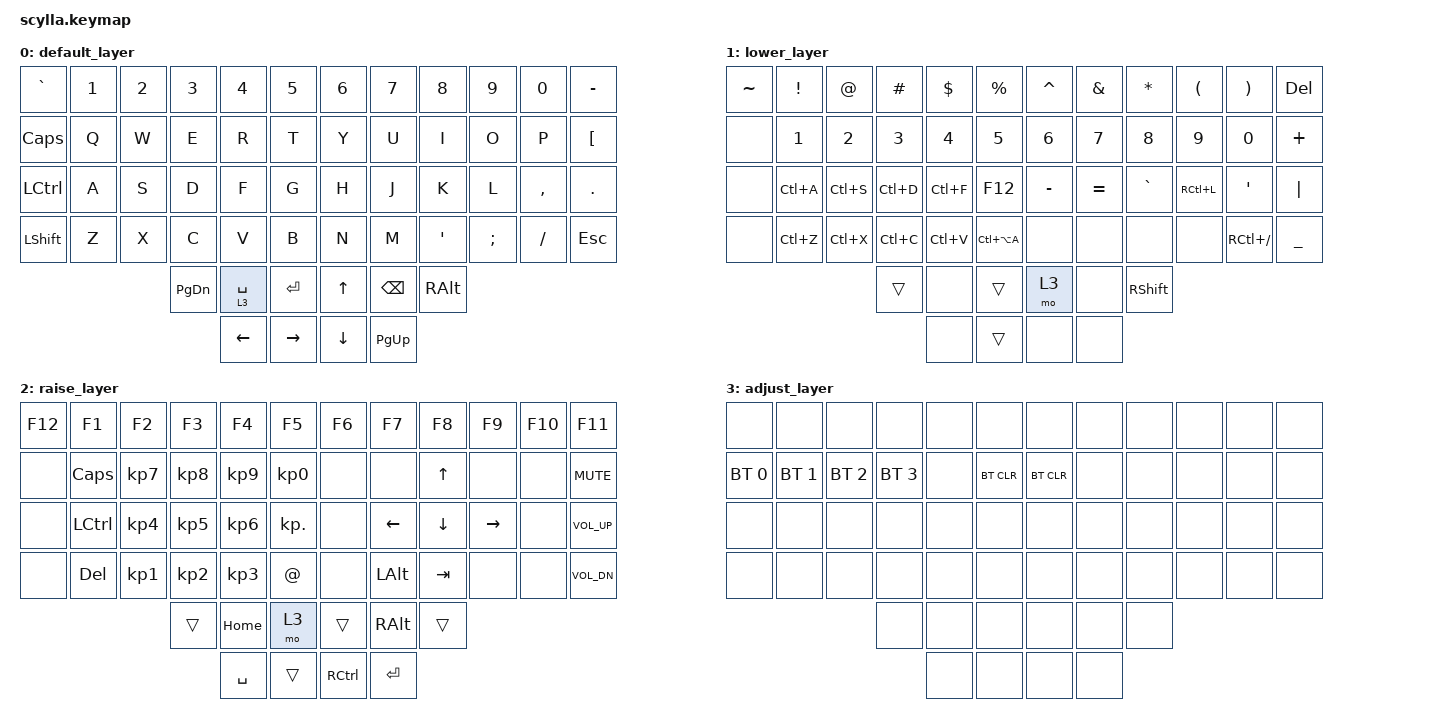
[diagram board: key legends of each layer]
#include <behaviors.dtsi>
#include <dt-bindings/zmk/bt.h>
#include <dt-bindings/zmk/keys.h>

#define DEFAULT 0
#define LWR 1
#define RSE 2
#define ADJ 3

/ {
    combos {
        compatible = "zmk,combos";

        combo1 {
            bindings = <&kp LBKT>;
            key-positions = <15 16>;
        };

        combo2 {
            bindings = <&kp RBKT>;
            key-positions = <19 20>;
        };

        combo3 {
            bindings = <&kp LEFT_PARENTHESIS>;
            key-positions = <27 28>;
        };

        combo4 {
            bindings = <&kp RIGHT_PARENTHESIS>;
            key-positions = <31 32>;
        };

        combo5 {
            bindings = <&kp LEFT_BRACE>;
            key-positions = <39 40>;
        };

        combo6 {
            bindings = <&kp RIGHT_BRACE>;
            key-positions = <43 44>;
        };

        combo7 {
            bindings = <&kp BACKSLASH>;
            key-positions = <17 18>;
        };

        combo8 {
            bindings = <&kp PIPE>;
            key-positions = <29 30>;
        };

        combo9 {
            bindings = <&kp ESC>;
            key-positions = <13 14>;
        };

        combo10 {
            bindings = <&kp TAB>;
            key-positions = <25 26>;
        };
    };

    behaviors {
        ltq: ltq {
            compatible = "zmk,behavior-hold-tap";
            label = "LTQ";
            bindings = <&mo>, <&kp>;

            #binding-cells = <2>;
            tapping-term-ms = <200>;
            quick-tap-ms = <180>;
            global-quick-tap;
        };
    };

    keymap {
        compatible = "zmk,keymap";

        default_layer {
            bindings = <
&kp GRAVE       &kp N1  &kp N2  &kp N3     &kp N4       &kp N5       &kp N6        &kp N7         &kp N8         &kp N9         &kp N0     &kp MINUS
&kp CAPS        &kp Q   &kp W   &kp E      &kp R        &kp T        &kp Y         &kp U          &kp I          &kp O          &kp P      &kp LEFT_BRACKET
&kp LCTRL       &kp A   &kp S   &kp D      &kp F        &kp G        &kp H         &kp J          &kp K          &kp L          &kp COMMA  &kp PERIOD
&kp LEFT_SHIFT  &kp Z   &kp X   &kp C      &kp V        &kp B        &kp N         &kp M          &kp SQT        &kp SEMICOLON  &kp SLASH  &kp ESCAPE
                                &kp PG_DN  &lt 3 SPACE  &kp ENTER    &kp UP_ARROW  &kp BACKSPACE  &kp RIGHT_ALT
                                           &kp LEFT     &kp RIGHT    &kp DOWN      &kp PG_UP
            >;
        };

        lower_layer {
            bindings = <
&kp TILDE  &kp EXCL      &kp AT        &kp HASH      &kp DLLR      &kp PRCNT        &kp CARET     &kp AMPS      &kp ASTRK        &kp LPAR      &kp RPAR       &kp DEL
&none      &kp NUMBER_1  &kp NUMBER_2  &kp NUMBER_3  &kp NUMBER_4  &kp NUMBER_5     &kp NUMBER_6  &kp NUMBER_7  &kp NUMBER_8     &kp NUMBER_9  &kp NUMBER_0   &kp PLUS
&none      &kp LC(A)     &kp LC(S)     &kp LC(D)     &kp LC(F)     &kp F12          &kp MINUS     &kp EQUAL     &kp GRAVE        &kp RC(L)     &kp SQT        &kp PIPE
&none      &kp LC(Z)     &kp LC(X)     &kp LC(C)     &kp LC(V)     &kp LC(LA(A))    &none         &none         &none            &none         &kp RC(SLASH)  &kp UNDER
                                       &trans        &none         &trans           &mo 3         &none         &kp RIGHT_SHIFT
                                                     &none         &trans           &none         &none
            >;
        };

        raise_layer {
            bindings = <
&kp F12  &kp F1     &kp F2           &kp F3           &kp F4           &kp F5             &kp F6     &kp F7        &kp F8    &kp F9     &kp F10  &kp F11
&none    &kp CAPS   &kp KP_NUMBER_7  &kp KP_NUMBER_8  &kp KP_NUMBER_9  &kp KP_NUMBER_0    &none      &none         &kp UP    &none      &none    &kp C_MUTE
&none    &kp LCTRL  &kp KP_NUMBER_4  &kp KP_NUMBER_5  &kp KP_NUMBER_6  &kp KP_DOT         &none      &kp LEFT      &kp DOWN  &kp RIGHT  &none    &kp C_VOL_UP
&none    &kp DEL    &kp KP_NUMBER_1  &kp KP_NUMBER_2  &kp KP_NUMBER_3  &kp AT_SIGN        &none      &kp LEFT_ALT  &kp TAB   &none      &none    &kp C_VOL_DN
                                     &trans           &kp HOME         &mo 3              &trans     &kp RALT      &trans
                                                      &kp SPACE        &trans             &kp RCTRL  &kp RET
            >;
        };

        adjust_layer {
            bindings = <
&none         &none         &none         &none         &none  &none         &none       &none  &none  &none  &none  &none
&bt BT_SEL 0  &bt BT_SEL 1  &bt BT_SEL 2  &bt BT_SEL 3  &none  &bt BT_CLR    &bt BT_CLR  &none  &none  &none  &none  &none
&none         &none         &none         &none         &none  &none         &none       &none  &none  &none  &none  &none
&none         &none         &none         &none         &none  &none         &none       &none  &none  &none  &none  &none
                                          &none         &none  &none         &none       &none  &none
                                                        &none  &none         &none       &none
            >;
        };
    };
};
